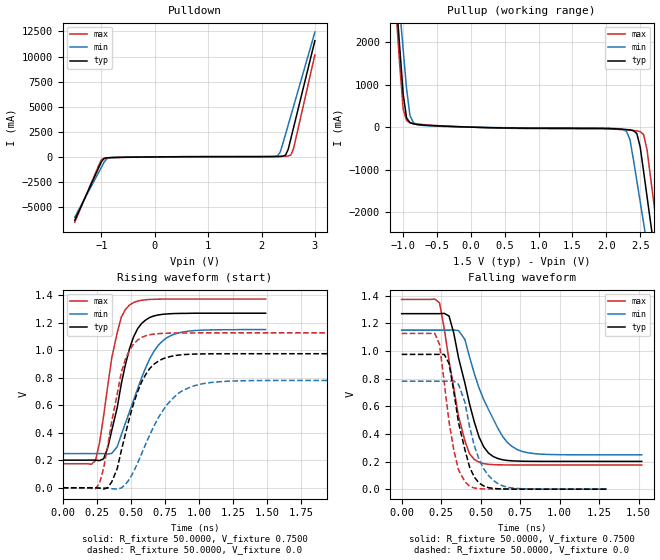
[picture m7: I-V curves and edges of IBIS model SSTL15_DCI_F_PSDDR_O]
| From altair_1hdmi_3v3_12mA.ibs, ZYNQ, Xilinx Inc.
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[Model]  SSTL15_DCI_F_PSDDR_O
Model_type Output
Polarity   Non-Inverting
Enable   Active-Low
Vmeas =  0.7500V
Cref =   0.0F
Rref =   50.0000
Vref =   0.7500V
C_comp   2.70pF 2.69pF  2.70pF
[Temperature Range]   25.0000   85.0000   0.0
[Voltage Range]   1.5000V   1.4250V   1.5750V
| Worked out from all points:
|   slope of the pulldown table from 0 to 0.225 V, typ, clamps not added: 18.7 ohm
|   slope of the pullup table from 0 to 0.225 V, typ, clamps not added: 21.8 ohm
|   rising waveform, R_fixture 50.0000, V_fixture 0.7500: 20-80 % time 146ps typ, 212ps min, 118ps max; typ from 0.201 V to 1.27 V
|   rising waveform, R_fixture 50.0000, V_fixture 0.0: 20-80 % time 172ps typ, 245ps min, 134ps max; typ from 0 V to 0.975 V
|   falling waveform, R_fixture 50.0000, V_fixture 0.7500: 20-80 % time 137ps typ, 189ps min, 113ps max; typ from 1.27 V to 0.201 V
|   falling waveform, R_fixture 50.0000, V_fixture 0.0: 20-80 % time 103ps typ, 115ps min, 86.5ps max; typ from 0.975 V to 0 V
[Pulldown]
|Voltage   I(typ)   I(min)   I(max)
-1.5V     -6.302A    -6.011A    -6.503A
-1.05V    -1.048A    -1.52A     -831.2mA
-950mV    -156.5mA   -529.5mA   -129.3mA
-900mV    -88.72mA   -179.7mA   -96.04mA
-750mV    -54.16mA   -43.67mA   -67.11mA
2.3V      41.98mA    136.5mA    46.93mA
2.35V     49.92mA    471.1mA    51.34mA
2.45V     184.7mA    2.258A     65.92mA
2.5V      748.9mA    3.18A      89.85mA
2.55V     1.828A     4.103A     200.8mA
2.6V      2.908A     5.026A     826.5mA
3V        11.58A     12.44A     10.17A
[Pullup]
|Voltage   I(typ)   I(min)   I(max)
-1.5V     11.6A      11.07A     11.96A
-1.1V     2.935A     3.667A     2.6A
-1.05V    1.854A     2.744A     1.433A
-1V       774.3mA    1.822A     421mA
-900mV    104.4mA    272.9mA    105.2mA
2.25V     -51.15mA   -56.88mA   -60.74mA
2.35V     -64.92mA   -300.6mA   -72.84mA
2.5V      -469.4mA   -1.76A     -106mA
2.55V     -1.043A    -2.258A    -173.4mA
2.65V     -2.209A    -3.254A    -1.146A
2.75V     -3.375A    -4.251A    -2.405A
3V        -6.294A    -6.746A    -5.555A
[Ramp]
| variable   typ   min   max
dV/dt_r  0.5852/0.1730n   0.4686/0.2439n   0.6762/0.1315n
dV/dt_f  0.6122/0.1697n   0.4910/0.2323n   0.7009/0.1314n
R_load = 50.0000
[Rising Waveform]
R_fixture= 50.0000
V_fixture= 0.7500
V_fixture_min= 0.7125
V_fixture_max= 0.7875
|time   V(typ)   V(min)   V(max)
0s        201mV      248.5mV    174.9mV
240ps     201mV      248.5mV    197mV
300ps     210.8mV    248.2mV    522.3mV
360ps     418mV      250.3mV    946.4mV
400ps     583.8mV    298.7mV    1.129V
490ps     1.012V     552.8mV    1.33V
580ps     1.197V     802.1mV    1.365V
670ps     1.25V      992.8mV    1.371V
760ps     1.264V     1.089V     1.373V
1.49ns    1.27V      1.151V     1.373V
[Rising Waveform]
R_fixture= 50.0000
V_fixture= 0.0
|time   V(typ)   V(min)   V(max)
0s        -1.253uV   -422.4nV   -1.231uV
270ps     -3.481mV   398.6uV    31.87mV
300ps     -9.332mV   402.2uV    141.7mV
360ps     43.09mV    -6.859mV   485.7mV
430ps     270.2mV    -1.151mV   839.1mV
490ps     508.3mV    62.71mV    998.6mV
580ps     772.3mV    249.6mV    1.094V
760ps     947.1mV    598.2mV    1.124V
970ps     972.7mV    743.6mV    1.126V
2.67ns    975.3mV    781mV      1.127V
[Falling Waveform]
R_fixture= 50.0000
V_fixture= 0.7500
V_fixture_min= 0.7125
V_fixture_max= 0.7875
|time   V(typ)   V(min)   V(max)
0s        1.27V      1.151V     1.373V
240ps     1.27V      1.151V     1.348V
300ps     1.253V     1.151V     931.1mV
360ps     950.8mV    1.148V     528.9mV
400ps     769.2mV    1.084V     351.6mV
460ps     486.3mV    836.5mV    215.1mV
550ps     261.1mV    576.1mV    180mV
640ps     212.5mV    380.3mV    175.7mV
730ps     203.4mV    287.3mV    175.1mV
1.52ns    201mV      248.5mV    174.9mV
[Falling Waveform]
R_fixture= 50.0000
V_fixture= 0.0
|time   V(typ)   V(min)   V(max)
0s        975.3mV    781mV      1.127V
210ps     975.3mV    781mV      1.127V
240ps     975.5mV    781mV      1.046V
300ps     909.3mV    781.4mV    485mV
360ps     480.6mV    758.1mV    139.6mV
400ps     288.2mV    631mV      54.88mV
430ps     160.4mV    451.1mV    20.09mV
520ps     22.74mV    146.7mV    1.808mV
640ps     1.722mV    23.72mV    184.3uV
1.3ns     48.24uV    51.14uV    43.58uV
